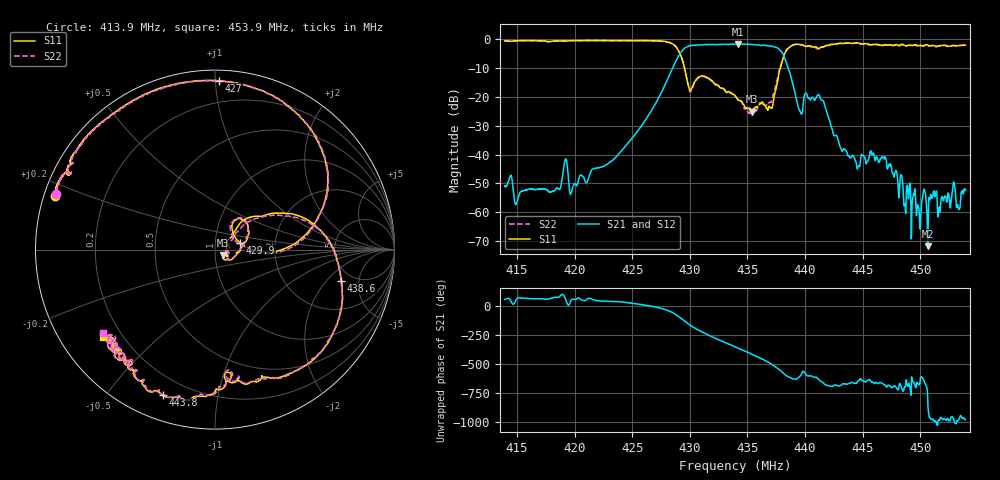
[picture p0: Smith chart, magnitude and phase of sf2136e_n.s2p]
# Hz S RI R 50
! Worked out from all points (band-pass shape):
!   1601 points, 413.9 MHz to 453.9 MHz, reference 50 ohm
!   highest |S21| = -1.61 dB at 434.2 MHz (marker M1); lowest = -71.8 dB at 450.6 MHz (marker M2)
!   |S21| within 3 dB of the highest: 429.2 MHz to 438 MHz (8.793 MHz wide, 2.03 % of centre)
!   lowest |S11| = -25.1 dB at 435.4 MHz (marker M3), VSWR 1.12, Z = 54.6 - j3.55 ohm
!   |S11| at or under -10 dB: 429.5 MHz to 437.9 MHz (8.31 MHz wide, 1.92 % of centre)
!   |S22| runs from -26.1 to -0.4 dB; largest |S21 - S12| = 0.006
!   S11 on the Smith chart (normalised r, x): 413.9 MHz: 0.03, +0.16; 427 MHz: 0.06, +1.02; 429.9 MHz: 1.32, +0.10; 438.6 MHz: 4.04, -2.94; 443.8 MHz: 0.11, -0.70; 453.9 MHz: 0.13, -0.34
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4.1392e8  -0.8918 0.2989  0.00142 0.00244  0.00141 0.00243  -0.8834 0.3107
4.14945e8  -0.8864 0.3172  0.000693 0.00123  0.000691 0.00123  -0.8806 0.3292
4.19195e8  -0.7966 0.4775  0.00345 0.00756  0.00339 0.00755  -0.7914 0.4811
4.19695e8  -0.8029 0.5063  0.00131 0.00174  0.00132 0.00168  -0.794 0.5117
4.20595e8  -0.7646 0.561  0.00241 0.00361  0.00244 0.00363  -0.7558 0.5702
4.27045e8  0.0226 0.9412  0.0777 -0.00808  0.0775 -0.00806  0.028 0.9342
4.2727e8  0.0952 0.933  0.0931 -0.0179  0.0931 -0.0181  0.106 0.9315
4.2877e8  0.6294 0.415  0.1426 -0.3907  0.1429 -0.3901  0.6293 0.4053
4.2992e8  0.1399 0.0385  -0.6919 -0.3246  -0.6921 -0.3231  0.1354 0.0296
4.31845e8  0.1815 0.0682  -0.1532 0.7964  -0.1502 0.7989  0.1799 0.0768
4.3392e8  0.0891 -0.0564  0.8093 0.1656  0.8073 0.1655  0.0899 -0.0529
4.34195e8  0.0699 -0.0548  0.8308 -0.0106  0.8311 -0.00907  0.0705 -0.0513
4.35395e8  0.0451 -0.0324  0.4823 -0.6487  0.4844 -0.6514  0.0503 -0.0241
4.3647e8  0.0633 -0.0353  -0.1971 -0.7622  -0.1958 -0.7624  0.0714 -0.0172
4.3742e8  0.0952 0.0762  -0.6863 -0.2497  -0.6853 -0.2479  0.117 0.0928
4.38645e8  0.7038 -0.1726  -0.0821 0.2629  -0.0826 0.2622  0.7051 -0.2017
4.3957e8  0.4399 -0.6801  -0.0263 0.0492  -0.0262 0.0492  0.429 -0.6853
4.40595e8  0.139 -0.735  -0.0441 0.0876  -0.0444 0.0879  0.1301 -0.7081
4.4382e8  -0.2906 -0.8119  0.00549 0.00768  0.00554 0.00769  -0.2972 -0.8057
4.4727e8  -0.4963 -0.6298  0.00516 0.00413  0.00511 0.00412  -0.5014 -0.6231
4.50645e8  -0.5976 -0.528  0.000138 -0.000217  0.000134 -0.00021  -0.5921 -0.5027
4.5392e8  -0.6219 -0.4855  -0.000434 0.00237  -0.00041 0.00237  -0.6267 -0.4669
